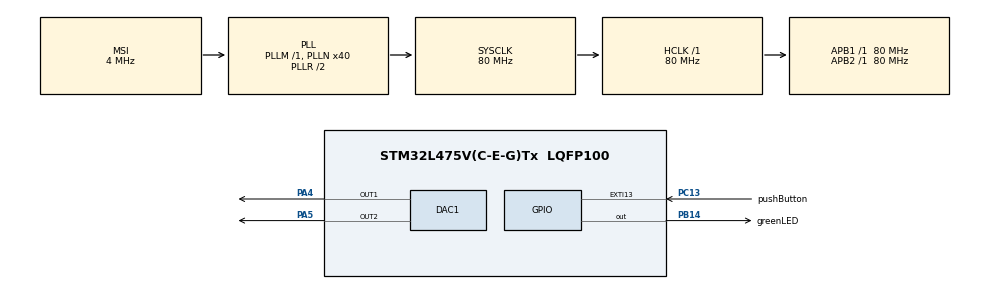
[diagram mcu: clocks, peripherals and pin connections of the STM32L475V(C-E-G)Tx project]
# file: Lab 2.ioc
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DAC1.DAC_Channel-DAC_OUT2=DAC_CHANNEL_2
Mcu.Family=STM32L4
Mcu.Name=STM32L475V(C-E-G)Tx
Mcu.Package=LQFP100
NVIC.PriorityGroup=NVIC_PRIORITYGROUP_4
PA13\ (JTMS-SWDIO).Signal=SYS_JTMS-SWDIO
PA4.Signal=COMP_DAC11_group
PA5.Signal=COMP_DAC12_group
PB14.GPIO_Label=greenLED
PB14.Signal=GPIO_Output
PB3\ (JTDO-TRACESWO).Signal=SYS_JTDO-SWO
PC13.GPIO_Label=pushButton
PC13.Signal=GPXTI13
ProjectManager.HeapSize=0x200
ProjectManager.StackSize=0x400
ProjectManager.TargetToolchain=STM32CubeIDE
RCC.ADCFreq_Value=48000000
RCC.AHBFreq_Value=80000000
RCC.APB1Freq_Value=80000000
RCC.APB1TimFreq_Value=80000000
RCC.APB2Freq_Value=80000000
RCC.APB2TimFreq_Value=80000000
RCC.CortexFreq_Value=80000000
RCC.HCLKFreq_Value=80000000
RCC.HSE_VALUE=8000000
RCC.HSI_VALUE=16000000
RCC.LSE_VALUE=32768
RCC.MSI_VALUE=4000000
RCC.PLLN=40
RCC.PLLSAI1N=24
RCC.SYSCLKFreq_VALUE=80000000
RCC.SYSCLKSource=RCC_SYSCLKSOURCE_PLLCLK
RCC.USBFreq_Value=48000000
RCC.VCOOutputFreq_Value=160000000
SH.COMP_DAC11_group.0=DAC1_OUT1,DAC_OUT1
SH.COMP_DAC12_group.0=DAC1_OUT2,DAC_OUT2
board=B-L475E-IOT01A1

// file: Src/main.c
/* USER CODE BEGIN Header */
/**
  ******************************************************************************
  * @file           : main.c
  * @brief          : Main program body
  ******************************************************************************
  * @attention
  *
  * <h2><center>&copy; Copyright (c) 2020 STMicroelectronics.
  * All rights reserved.</center></h2>
  *
  * This software component is licensed by ST under BSD 3-Clause license,
  * the "License"; You may not use this file except in compliance with the
  * License. You may obtain a copy of the License at:
  *                        opensource.org/licenses/BSD-3-Clause
  *
  ******************************************************************************
  */
/* USER CODE END Header */
#include "main.h"

/* USER CODE BEGIN Includes */
#define ARM_MATH_CM4
#include "arm_math.h"

#include <math.h>
/* USER CODE END Includes */

DAC_HandleTypeDef hdac1;

void SystemClock_Config(void);
static void MX_GPIO_Init(void);
static void MX_DAC1_Init(void);

int main(void)
{

  /* MCU Configuration--------------------------------------------------------*/

  /* Reset of all peripherals, Initializes the Flash interface and the Systick. */
  HAL_Init();
  //this function must be called at application startup to
  //– initialize data/instruction cache and pre-fetch queue
  //– set SysTick timer to generate an interrupt each 1ms (based on HSI clock) with the lowest priority
  //– call HAL_MspInit() user callback function to perform system level initializations (Clock, GPIOs, DMA, interrupts). HAL_MspInit() is defined as “weak” empty function in the HAL drivers.

  /* Configure the system clock */
  SystemClock_Config();

  /* Initialize all configured peripherals */
  MX_GPIO_Init();
  MX_DAC1_Init();
  /* USER CODE BEGIN 2 */

  HAL_DAC_Start(&hdac1, DAC_CHANNEL_1);
  HAL_DAC_Start(&hdac1, DAC_CHANNEL_2);

  // initialize arrays to hold one period of the wave signal values
  uint32_t triangleWaveform[16];
  uint32_t sawWaveform[16];
  uint32_t sineWaveform[16];

  // initialize variables to allow graphing SWV
  uint32_t triangle;
  uint32_t saw;
  uint32_t sine;

  // used for indexing into the waves
  uint32_t i = 0;
  const float pi = 3.14;

  for (uint32_t j = 0; j < 16; j++) {
	  sawWaveform[j] = j * 256; // 0 , 256, 512, ... 3584, 3840

	  if (j < 8)
		  triangleWaveform[j] = j * 512; //
	  else if (j == 8)
		  triangleWaveform[j] = 4095; //0, 512, 1024, 1536, 2048, 2560, 3072, 3584
	  else
		  triangleWaveform[j] = 4096 - ((j % 8) * 512);

	  //arm_sin_f32 parameter must be in radians
	  float radians = pi * j / 8.0; // for j = 0 and j = 16, sin(radians) = 0
	  sineWaveform[j] = (uint32_t) roundf(2047.0 * (1.0 + arm_sin_f32(radians)));

  }
  /* USER CODE END 2 */

  /* Infinite loop */
  while (1)
  {

    /* USER CODE BEGIN 3 */
	// set the DAC values, then update index
	triangle = triangleWaveform[i];
	saw = sawWaveform[i];
	sine = sineWaveform[i];

	//HAL_DAC_SetValue(&hdac1, DAC_CHANNEL_1, DAC_ALIGN_12B_R, triangle);
	HAL_DAC_SetValue(&hdac1, DAC_CHANNEL_1, DAC_ALIGN_12B_R, sine);
	//HAL_DAC_SetValue(&hdac1, DAC_CHANNEL_1, DAC_ALIGN_12B_R, sine);
	HAL_DAC_SetValue(&hdac1, DAC_CHANNEL_2, DAC_ALIGN_12B_R, triangle);
	i = (i + 1) % 16;

	// Part 1 :  GPIO in Digital Mode, with Buttons and LEDs

	GPIO_PinState buttonState = HAL_GPIO_ReadPin(pushButton_GPIO_Port, pushButton_Pin);
	if (buttonState == GPIO_PIN_RESET) //GPIO_PIN_RESET -> pressed
		HAL_GPIO_WritePin(greenLED_GPIO_Port, greenLED_Pin, GPIO_PIN_SET);
	else
		HAL_GPIO_WritePin(greenLED_GPIO_Port, greenLED_Pin, GPIO_PIN_RESET);

	// delay
	HAL_Delay(0.5);
  }
  /* USER CODE END 3 */
}

void SystemClock_Config(void)
{
  RCC_OscInitTypeDef RCC_OscInitStruct = {0};
  RCC_ClkInitTypeDef RCC_ClkInitStruct = {0};

  /** Configure the main internal regulator output voltage
  */
  if (HAL_PWREx_ControlVoltageScaling(PWR_REGULATOR_VOLTAGE_SCALE1) != HAL_OK)
  {
    Error_Handler();
  }

  /** Initializes the RCC Oscillators according to the specified parameters
  * in the RCC_OscInitTypeDef structure.
  */
  RCC_OscInitStruct.OscillatorType = RCC_OSCILLATORTYPE_MSI;
  RCC_OscInitStruct.MSIState = RCC_MSI_ON;
  RCC_OscInitStruct.MSICalibrationValue = 0;
  RCC_OscInitStruct.MSIClockRange = RCC_MSIRANGE_6;
  RCC_OscInitStruct.PLL.PLLState = RCC_PLL_ON;
  RCC_OscInitStruct.PLL.PLLSource = RCC_PLLSOURCE_MSI;
  RCC_OscInitStruct.PLL.PLLM = 1;
  RCC_OscInitStruct.PLL.PLLN = 40;
  RCC_OscInitStruct.PLL.PLLP = RCC_PLLP_DIV7;
  RCC_OscInitStruct.PLL.PLLQ = RCC_PLLQ_DIV2;
  RCC_OscInitStruct.PLL.PLLR = RCC_PLLR_DIV2;
  if (HAL_RCC_OscConfig(&RCC_OscInitStruct) != HAL_OK)
  {
    Error_Handler();
  }

  /** Initializes the CPU, AHB and APB buses clocks
  */
  RCC_ClkInitStruct.ClockType = RCC_CLOCKTYPE_HCLK|RCC_CLOCKTYPE_SYSCLK
                              |RCC_CLOCKTYPE_PCLK1|RCC_CLOCKTYPE_PCLK2;
  RCC_ClkInitStruct.SYSCLKSource = RCC_SYSCLKSOURCE_PLLCLK;
  RCC_ClkInitStruct.AHBCLKDivider = RCC_SYSCLK_DIV1;
  RCC_ClkInitStruct.APB1CLKDivider = RCC_HCLK_DIV1;
  RCC_ClkInitStruct.APB2CLKDivider = RCC_HCLK_DIV1;

  if (HAL_RCC_ClockConfig(&RCC_ClkInitStruct, FLASH_LATENCY_4) != HAL_OK)
  {
    Error_Handler();
  }
}

static void MX_DAC1_Init(void)
{

  DAC_ChannelConfTypeDef sConfig = {0};

  /** DAC Initialization
  */
  hdac1.Instance = DAC1;
  if (HAL_DAC_Init(&hdac1) != HAL_OK)
  {
    Error_Handler();
  }

  /** DAC channel OUT1 config
  */
  sConfig.DAC_SampleAndHold = DAC_SAMPLEANDHOLD_DISABLE;
  sConfig.DAC_Trigger = DAC_TRIGGER_NONE;
  sConfig.DAC_OutputBuffer = DAC_OUTPUTBUFFER_ENABLE;
  sConfig.DAC_ConnectOnChipPeripheral = DAC_CHIPCONNECT_DISABLE;
  sConfig.DAC_UserTrimming = DAC_TRIMMING_FACTORY;
  if (HAL_DAC_ConfigChannel(&hdac1, &sConfig, DAC_CHANNEL_1) != HAL_OK)
  {
    Error_Handler();
  }

  /** DAC channel OUT2 config
  */
  if (HAL_DAC_ConfigChannel(&hdac1, &sConfig, DAC_CHANNEL_2) != HAL_OK)
  {
    Error_Handler();
  }

}

static void MX_GPIO_Init(void)
{
  GPIO_InitTypeDef GPIO_InitStruct = {0};

  /* GPIO Ports Clock Enable */
  __HAL_RCC_GPIOC_CLK_ENABLE();
  __HAL_RCC_GPIOA_CLK_ENABLE();
  __HAL_RCC_GPIOB_CLK_ENABLE();

  /*Configure GPIO pin Output Level */
  HAL_GPIO_WritePin(greenLED_GPIO_Port, greenLED_Pin, GPIO_PIN_RESET);

  /*Configure GPIO pin : pushButton_Pin */
  GPIO_InitStruct.Pin = pushButton_Pin;
  GPIO_InitStruct.Mode = GPIO_MODE_IT_RISING;
  GPIO_InitStruct.Pull = GPIO_NOPULL;
  HAL_GPIO_Init(pushButton_GPIO_Port, &GPIO_InitStruct);

  /*Configure GPIO pin : greenLED_Pin */
  GPIO_InitStruct.Pin = greenLED_Pin;
  GPIO_InitStruct.Mode = GPIO_MODE_OUTPUT_PP;
  GPIO_InitStruct.Pull = GPIO_NOPULL;
  GPIO_InitStruct.Speed = GPIO_SPEED_FREQ_LOW;
  HAL_GPIO_Init(greenLED_GPIO_Port, &GPIO_InitStruct);

}

void Error_Handler(void)
{
}
